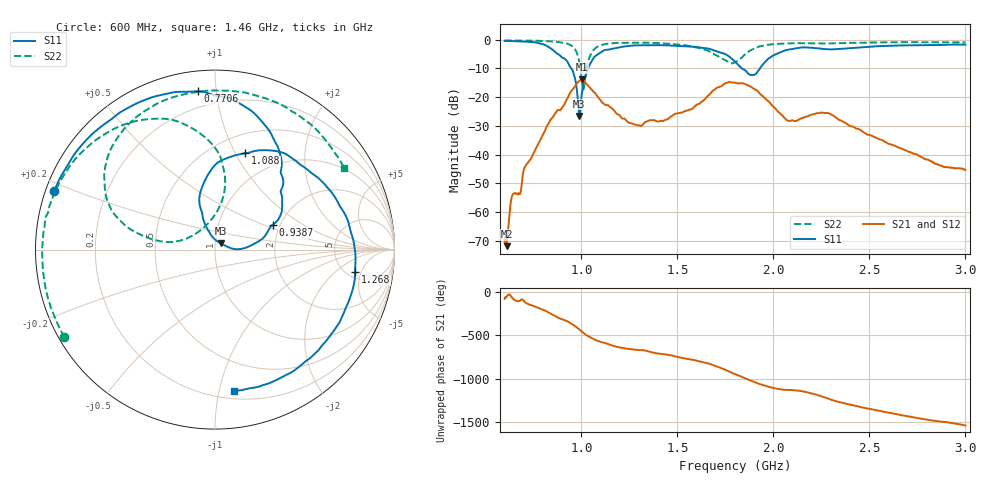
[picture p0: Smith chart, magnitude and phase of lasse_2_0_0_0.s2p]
#  HZ  S  RI  R  50.00
! Rohde & Schwarz ZVB8 2Ports - Version 2.81 - 1145.1010k08 SN: 100113
! Date: 2016-05-04 02:48:33
! Measurements: S11 S21 S12 S22
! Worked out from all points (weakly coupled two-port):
!   1000 points, 600 MHz to 3 GHz, reference 50 ohm
!   highest |S21| = -13.81 dB at 1.004 GHz (marker M1); lowest = -71.9 dB at 612 MHz (marker M2)
!   lowest |S11| = -26.6 dB at 989.2 MHz (marker M3), VSWR 1.10, Z = 53.1 + j3.73 ohm
!   |S11| at or under -10 dB: 947.8 MHz to 1.035 GHz (86.72 MHz wide, 8.75 % of centre); 1.835 GHz to 1.931 GHz (95.23 MHz wide, 5.06 % of centre)
!   |S22| runs from -17.4 to -0.3 dB; largest |S21 - S12| = 0.0021
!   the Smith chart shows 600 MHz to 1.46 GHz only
!   S11 on the Smith chart (normalised r, x): 600 MHz: 0.02, +0.18; 770.6 MHz: 0.11, +0.89; 938.7 MHz: 1.83, +0.57; 1.088 GHz: 0.70, +1.09; 1.268 GHz: 5.82, -3.91; 1.46 GHz: 0.26, -1.11
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6e8  -0.896 0.3259  5.88e-05 -0.000285  6.75e-05 -0.000252  -0.8397 -0.4877
6.12012e8  -0.8693 0.387  0.000174 -0.000183  0.000203 -0.000281  -0.8616 -0.4459
6.408408e8  -0.7896 0.5223  0.000682 -0.00182  0.000634 -0.00179  -0.9063 -0.3432
7.705706e8  -0.0951 0.8816  -0.0142 -0.000394  -0.0141 -0.000599  -0.9473 0.154
8.474474e8  0.3413 0.5888  -0.00848 0.0423  -0.00869 0.0422  -0.8146 0.4566
9.387387e8  0.3212 0.1379  0.1135 0.0147  0.1133 0.0153  -0.3849 0.7253
9.891892e8  0.0312 0.0351  0.0642 -0.1804  0.0651 -0.1799  0.0555 0.407
1.001201e9  -0.0347 0.1017  -0.0113 -0.203  -0.00996 -0.2028  0.0114 0.2124
1.003604e9  -0.0425 0.1155  -0.0292 -0.2019  -0.0278 -0.2017  -0.0103 0.1795
1.087688e9  0.1676 0.537  -0.0884 0.0453  -0.0885 0.0445  -0.6103 0.4667
1.267868e9  0.7794 -0.1265  0.0193 0.0286  0.0191 0.0287  0.0722 0.8853
1.4e9  0.3959 -0.6989  0.037 0.00632  0.037 0.00649  0.5708 0.6627
1.46006e9  0.1082 -0.7865  0.0439 -0.00621  0.0438 -0.00598  0.7196 0.4532
1.657057e9  -0.6051 -0.3554  -0.0227 -0.1015  -0.022 -0.1017  0.587 -0.2683
1.801201e9  -0.3966 0.1084  -0.1125 0.1383  -0.1132 0.1372  0.3684 -0.1683
1.89009e9  -0.2416 -0.00144  0.0963 0.1095  0.0952 0.11  0.5753 -0.3572
1.974174e9  -0.4648 -0.0709  0.0818 -0.021  0.0819 -0.02  0.4348 -0.6933
2.2e9  -0.2493 0.6798  -0.00196 -0.0495  -0.00166 -0.0494  -0.3117 -0.8048
2.404204e9  0.4217 0.5764  -0.0226 0.0214  -0.0228 0.0212  -0.7295 -0.4954
2.601201e9  0.7758 -0.1124  0.0108 0.0108  0.0107 0.0108  -0.899 -0.0616
2.803003e9  0.2747 -0.7552  0.00665 -0.00476  0.00659 -0.00473  -0.8116 0.397
3e9  -0.4477 -0.6872  -0.00123 -0.00529  -0.00108 -0.00531  -0.515 0.7338
